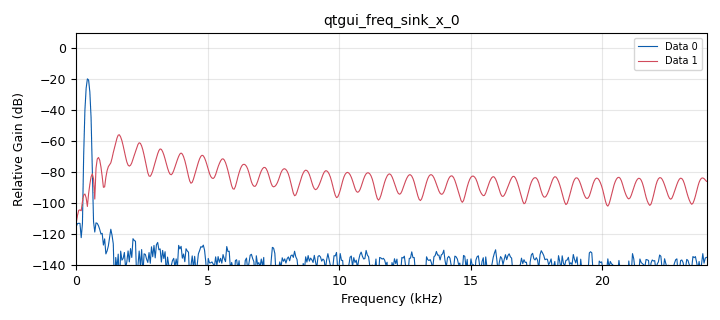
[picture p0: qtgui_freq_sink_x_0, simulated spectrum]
options:
  parameters:
    generate_options: qt_gui
    id: audiocoder
    output_language: python
    title: Not titled yet
  states: {}

blocks:
- name: f
  id: variable_qtgui_range
  parameters:
    start: '50'
    step: '1'
    stop: '1000'
    value: '440'
  states: {}
- name: samp_rate
  id: variable
  parameters:
    value: '48000'
  states: {}
- name: analog_sig_source_x_0
  id: analog_sig_source_x
  parameters:
    amp: '20000'
    freq: f
    offset: '0'
    phase: '0'
    samp_rate: samp_rate
    type: short
    waveform: analog.GR_COS_WAVE
  states: {}
- name: audio_sink_0
  id: audio_sink
  parameters:
    samp_rate: samp_rate
  states: {}
- name: blocks_short_to_float_0
  id: blocks_short_to_float
  parameters:
    scale: '32767'
  states: {}
- name: blocks_short_to_float_0_0
  id: blocks_short_to_float
  parameters:
    scale: '32767'
  states: {}
- name: qtgui_freq_sink_x_0
  id: qtgui_freq_sink_x
  parameters:
    bw: samp_rate
    fc: '0'
    fftsize: '1024'
    freqhalf: 'False'
    nconnections: '2'
    type: float
  states: {}
- name: vocoder_codec2_decode_ps_0
  id: vocoder_codec2_decode_ps
  parameters:
    mode: codec2.MODE_3200
  states: {}
- name: vocoder_codec2_encode_sp_0
  id: vocoder_codec2_encode_sp
  parameters:
    mode: codec2.MODE_3200
  states: {}

connections:
- [analog_sig_source_x_0, '0', blocks_short_to_float_0_0, '0']
- [analog_sig_source_x_0, '0', vocoder_codec2_encode_sp_0, '0']
- [blocks_short_to_float_0, '0', audio_sink_0, '0']
- [blocks_short_to_float_0, '0', qtgui_freq_sink_x_0, '1']
- [blocks_short_to_float_0_0, '0', qtgui_freq_sink_x_0, '0']
- [vocoder_codec2_decode_ps_0, '0', blocks_short_to_float_0, '0']
- [vocoder_codec2_encode_sp_0, '0', vocoder_codec2_decode_ps_0, '0']

metadata:
  file_format: 1
  grc_version: 3.10.10.0
